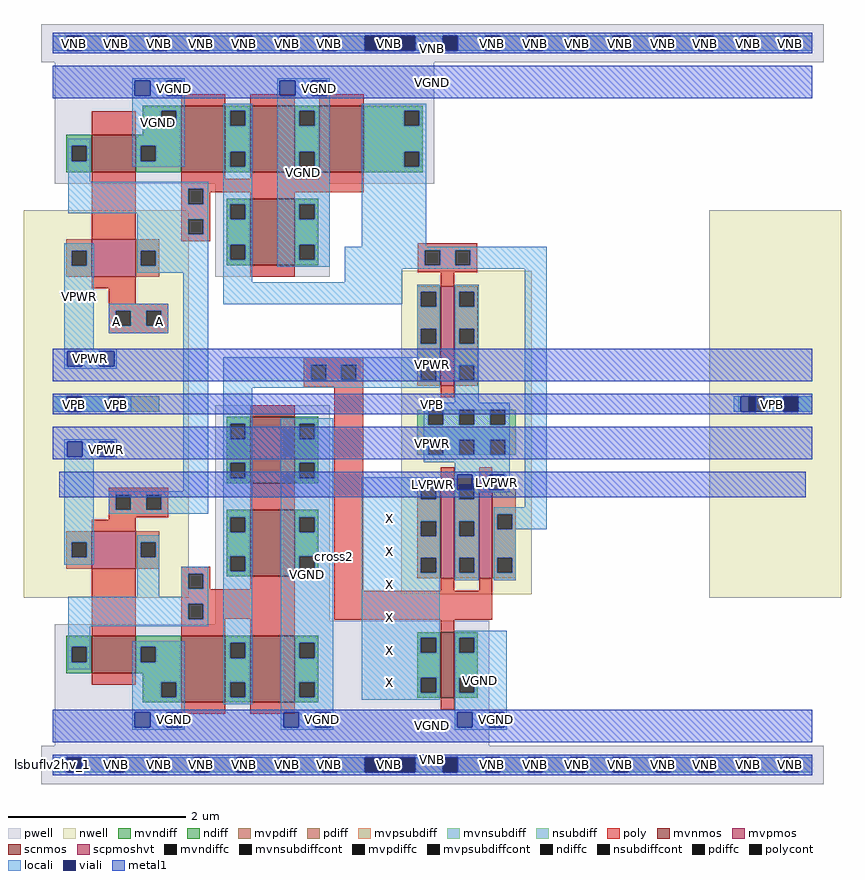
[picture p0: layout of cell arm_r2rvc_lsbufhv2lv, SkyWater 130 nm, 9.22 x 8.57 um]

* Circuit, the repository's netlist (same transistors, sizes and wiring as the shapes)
* PDK standard-cell definition: arm_r2rvc_lsbufhv2lv
* Copyright 2020 The SkyWater PDK Authors; Apache-2.0
* https://www.apache.org/licenses/LICENSE-2.0
.subckt arm_r2rvc_lsbufhv2lv A LVPWR VGND VNB VPB VPWR X
X0 a_30_207# a_30_1337# VGND VNB sky130_fd_pr__nfet_g5v0d10v5 w=420000u l=500000u
X1 VPWR a_30_1337# a_30_207# VPB sky130_fd_pr__pfet_g5v0d10v5 w=420000u l=500000u
X2 X a_389_141# VGND VNB sky130_fd_pr__nfet_01v8 w=740000u l=150000u
X3 a_389_1337# a_30_1337# VGND VNB sky130_fd_pr__nfet_g5v0d10v5 w=750000u l=500000u
X4 a_389_1337# a_30_1337# VGND VNB sky130_fd_pr__nfet_g5v0d10v5 w=750000u l=500000u
X5 X a_389_141# LVPWR LVPWR sky130_fd_pr__pfet_01v8_hvt w=1.12e+06u l=150000u
X6 a_389_141# a_389_1337# LVPWR LVPWR sky130_fd_pr__pfet_01v8_hvt w=1.12e+06u l=150000u
X7 VGND a_30_207# a_389_141# VNB sky130_fd_pr__nfet_g5v0d10v5 w=750000u l=500000u
X8 a_389_141# a_30_207# VGND VNB sky130_fd_pr__nfet_g5v0d10v5 w=750000u l=500000u
X9 a_389_141# a_30_207# VGND VNB sky130_fd_pr__nfet_g5v0d10v5 w=750000u l=500000u
X10 VPWR A a_30_1337# VPB sky130_fd_pr__pfet_g5v0d10v5 w=420000u l=500000u
X11 a_30_1337# A VGND VNB sky130_fd_pr__nfet_g5v0d10v5 w=420000u l=500000u
X12 LVPWR a_389_141# a_389_1337# LVPWR sky130_fd_pr__pfet_01v8_hvt w=1.12e+06u l=150000u
X13 a_389_141# a_30_207# VGND VNB sky130_fd_pr__nfet_g5v0d10v5 w=750000u l=500000u
X14 VGND a_30_1337# a_389_1337# VNB sky130_fd_pr__nfet_g5v0d10v5 w=750000u l=500000u
X15 VGND a_30_1337# a_389_1337# VNB sky130_fd_pr__nfet_g5v0d10v5 w=750000u l=500000u
.ends

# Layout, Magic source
magic
tech sky130A
magscale 1 2
<< nwell >>
rect -66 377 306 1251
rect 786 385 1080 1115
rect 1480 377 1778 1251
<< pwell >>
rect -26 1585 1738 1671
rect 4 1311 860 1585
rect 366 1101 624 1311
rect 366 325 624 811
rect 366 317 984 325
rect 4 43 984 317
rect -26 -43 1738 43
<< scnmos >>
rect 875 151 905 299
<< mvnmos >>
rect 87 1337 187 1421
rect 289 1337 389 1487
rect 445 1337 545 1487
rect 601 1337 701 1487
rect 445 1127 545 1277
rect 445 635 545 785
rect 445 425 545 575
rect 87 207 187 291
rect 289 141 389 291
rect 445 141 545 291
<< mvpmos >>
rect 87 1101 187 1185
rect 87 443 187 527
<< scpmoshvt >>
rect 875 855 905 1079
rect 875 421 905 645
rect 961 421 991 645
<< ndiff >>
rect 822 287 875 299
rect 822 253 830 287
rect 864 253 875 287
rect 822 197 875 253
rect 822 163 830 197
rect 864 163 875 197
rect 822 151 875 163
rect 905 287 958 299
rect 905 253 916 287
rect 950 253 958 287
rect 905 197 958 253
rect 905 163 916 197
rect 950 163 958 197
rect 905 151 958 163
<< pdiff >>
rect 822 1067 875 1079
rect 822 1033 830 1067
rect 864 1033 875 1067
rect 822 984 875 1033
rect 822 950 830 984
rect 864 950 875 984
rect 822 901 875 950
rect 822 867 830 901
rect 864 867 875 901
rect 822 855 875 867
rect 905 1067 958 1079
rect 905 1033 916 1067
rect 950 1033 958 1067
rect 905 984 958 1033
rect 905 950 916 984
rect 950 950 958 984
rect 905 901 958 950
rect 905 867 916 901
rect 950 867 958 901
rect 905 855 958 867
rect 822 633 875 645
rect 822 599 830 633
rect 864 599 875 633
rect 822 550 875 599
rect 822 516 830 550
rect 864 516 875 550
rect 822 467 875 516
rect 822 433 830 467
rect 864 433 875 467
rect 822 421 875 433
rect 905 633 961 645
rect 905 599 916 633
rect 950 599 961 633
rect 905 550 961 599
rect 905 516 916 550
rect 950 516 961 550
rect 905 467 961 516
rect 905 433 916 467
rect 950 433 961 467
rect 905 421 961 433
rect 991 565 1044 645
rect 991 531 1002 565
rect 1036 531 1044 565
rect 991 467 1044 531
rect 991 433 1002 467
rect 1036 433 1044 467
rect 991 421 1044 433
<< mvndiff >>
rect 202 1475 289 1487
rect 202 1441 244 1475
rect 278 1441 289 1475
rect 202 1421 289 1441
rect 30 1396 87 1421
rect 30 1362 42 1396
rect 76 1362 87 1396
rect 30 1337 87 1362
rect 187 1396 289 1421
rect 187 1362 198 1396
rect 232 1362 289 1396
rect 187 1337 289 1362
rect 389 1475 445 1487
rect 389 1441 400 1475
rect 434 1441 445 1475
rect 389 1383 445 1441
rect 389 1349 400 1383
rect 434 1349 445 1383
rect 389 1337 445 1349
rect 545 1475 601 1487
rect 545 1441 556 1475
rect 590 1441 601 1475
rect 545 1383 601 1441
rect 545 1349 556 1383
rect 590 1349 601 1383
rect 545 1337 601 1349
rect 701 1475 834 1487
rect 701 1441 792 1475
rect 826 1441 834 1475
rect 701 1383 834 1441
rect 701 1349 792 1383
rect 826 1349 834 1383
rect 701 1337 834 1349
rect 392 1265 445 1277
rect 392 1231 400 1265
rect 434 1231 445 1265
rect 392 1173 445 1231
rect 392 1139 400 1173
rect 434 1139 445 1173
rect 392 1127 445 1139
rect 545 1265 598 1277
rect 545 1231 556 1265
rect 590 1231 598 1265
rect 545 1173 598 1231
rect 545 1139 556 1173
rect 590 1139 598 1173
rect 545 1127 598 1139
rect 392 769 445 785
rect 392 735 400 769
rect 434 735 445 769
rect 392 681 445 735
rect 392 647 400 681
rect 434 647 445 681
rect 392 635 445 647
rect 545 769 598 785
rect 545 735 556 769
rect 590 735 598 769
rect 545 681 598 735
rect 545 647 556 681
rect 590 647 598 681
rect 545 635 598 647
rect 392 559 445 575
rect 392 525 400 559
rect 434 525 445 559
rect 392 471 445 525
rect 392 437 400 471
rect 434 437 445 471
rect 392 425 445 437
rect 545 559 598 575
rect 545 525 556 559
rect 590 525 598 559
rect 545 471 598 525
rect 545 437 556 471
rect 590 437 598 471
rect 545 425 598 437
rect 30 266 87 291
rect 30 232 42 266
rect 76 232 87 266
rect 30 207 87 232
rect 187 266 289 291
rect 187 232 198 266
rect 232 232 289 266
rect 187 207 289 232
rect 202 187 289 207
rect 202 153 244 187
rect 278 153 289 187
rect 202 141 289 153
rect 389 275 445 291
rect 389 241 400 275
rect 434 241 445 275
rect 389 187 445 241
rect 389 153 400 187
rect 434 153 445 187
rect 389 141 445 153
rect 545 275 598 291
rect 545 241 556 275
rect 590 241 598 275
rect 545 187 598 241
rect 545 153 556 187
rect 590 153 598 187
rect 545 141 598 153
<< mvpdiff >>
rect 30 1160 87 1185
rect 30 1126 42 1160
rect 76 1126 87 1160
rect 30 1101 87 1126
rect 187 1160 240 1185
rect 187 1126 198 1160
rect 232 1126 240 1160
rect 187 1101 240 1126
rect 30 502 87 527
rect 30 468 42 502
rect 76 468 87 502
rect 30 443 87 468
rect 187 502 240 527
rect 187 468 198 502
rect 232 468 240 502
rect 187 443 240 468
<< ndiffc >>
rect 830 253 864 287
rect 830 163 864 197
rect 916 253 950 287
rect 916 163 950 197
<< pdiffc >>
rect 830 1033 864 1067
rect 830 950 864 984
rect 830 867 864 901
rect 916 1033 950 1067
rect 916 950 950 984
rect 916 867 950 901
rect 830 599 864 633
rect 830 516 864 550
rect 830 433 864 467
rect 916 599 950 633
rect 916 516 950 550
rect 916 433 950 467
rect 1002 531 1036 565
rect 1002 433 1036 467
<< mvndiffc >>
rect 244 1441 278 1475
rect 42 1362 76 1396
rect 198 1362 232 1396
rect 400 1441 434 1475
rect 400 1349 434 1383
rect 556 1441 590 1475
rect 556 1349 590 1383
rect 792 1441 826 1475
rect 792 1349 826 1383
rect 400 1231 434 1265
rect 400 1139 434 1173
rect 556 1231 590 1265
rect 556 1139 590 1173
rect 400 735 434 769
rect 400 647 434 681
rect 556 735 590 769
rect 556 647 590 681
rect 400 525 434 559
rect 400 437 434 471
rect 556 525 590 559
rect 556 437 590 471
rect 42 232 76 266
rect 198 232 232 266
rect 244 153 278 187
rect 400 241 434 275
rect 400 153 434 187
rect 556 241 590 275
rect 556 153 590 187
<< mvpdiffc >>
rect 42 1126 76 1160
rect 198 1126 232 1160
rect 42 468 76 502
rect 198 468 232 502
<< nsubdiff >>
rect 822 767 846 801
rect 880 767 916 801
rect 950 767 986 801
rect 1020 767 1044 801
rect 822 733 1044 767
rect 822 699 846 733
rect 880 699 916 733
rect 950 699 986 733
rect 1020 699 1044 733
<< mvpsubdiff >>
rect 0 1611 31 1645
rect 65 1611 127 1645
rect 161 1611 223 1645
rect 257 1611 319 1645
rect 353 1611 415 1645
rect 449 1611 511 1645
rect 545 1611 607 1645
rect 641 1611 703 1645
rect 817 1611 879 1645
rect 913 1611 975 1645
rect 1009 1611 1071 1645
rect 1105 1611 1167 1645
rect 1201 1611 1263 1645
rect 1297 1611 1359 1645
rect 1393 1611 1455 1645
rect 1489 1611 1551 1645
rect 1585 1611 1647 1645
rect 1681 1611 1712 1645
rect 0 -17 31 17
rect 65 -17 127 17
rect 161 -17 223 17
rect 257 -17 319 17
rect 353 -17 415 17
rect 449 -17 511 17
rect 545 -17 607 17
rect 641 -17 703 17
rect 817 -17 879 17
rect 913 -17 975 17
rect 1009 -17 1071 17
rect 1105 -17 1167 17
rect 1201 -17 1263 17
rect 1297 -17 1359 17
rect 1393 -17 1455 17
rect 1489 -17 1551 17
rect 1585 -17 1647 17
rect 1681 -17 1712 17
<< mvnsubdiff >>
rect 0 797 31 831
rect 65 797 127 831
rect 161 797 240 831
rect 1546 797 1570 831
rect 1604 797 1647 831
rect 1681 797 1712 831
<< nsubdiffcont >>
rect 846 767 880 801
rect 916 767 950 801
rect 986 767 1020 801
rect 846 699 880 733
rect 916 699 950 733
rect 986 699 1020 733
<< mvpsubdiffcont >>
rect 31 1611 65 1645
rect 127 1611 161 1645
rect 223 1611 257 1645
rect 319 1611 353 1645
rect 415 1611 449 1645
rect 511 1611 545 1645
rect 607 1611 641 1645
rect 703 1611 817 1645
rect 879 1611 913 1645
rect 975 1611 1009 1645
rect 1071 1611 1105 1645
rect 1167 1611 1201 1645
rect 1263 1611 1297 1645
rect 1359 1611 1393 1645
rect 1455 1611 1489 1645
rect 1551 1611 1585 1645
rect 1647 1611 1681 1645
rect 31 -17 65 17
rect 127 -17 161 17
rect 223 -17 257 17
rect 319 -17 353 17
rect 415 -17 449 17
rect 511 -17 545 17
rect 607 -17 641 17
rect 703 -17 817 17
rect 879 -17 913 17
rect 975 -17 1009 17
rect 1071 -17 1105 17
rect 1167 -17 1201 17
rect 1263 -17 1297 17
rect 1359 -17 1393 17
rect 1455 -17 1489 17
rect 1551 -17 1585 17
rect 1647 -17 1681 17
<< mvnsubdiffcont >>
rect 31 797 65 831
rect 127 797 161 831
rect 1570 797 1604 831
rect 1647 797 1681 831
<< poly >>
rect 289 1487 389 1513
rect 445 1487 545 1513
rect 601 1487 701 1513
rect 87 1421 187 1474
rect 87 1185 187 1337
rect 289 1322 389 1337
rect 445 1322 545 1337
rect 601 1322 701 1337
rect 289 1299 701 1322
rect 289 1265 305 1299
rect 339 1292 701 1299
rect 339 1265 355 1292
rect 445 1277 545 1292
rect 289 1231 355 1265
rect 289 1197 305 1231
rect 339 1197 355 1231
rect 289 1181 355 1197
rect 823 1161 957 1177
rect 823 1127 839 1161
rect 873 1127 907 1161
rect 941 1127 957 1161
rect 445 1101 545 1127
rect 823 1111 957 1127
rect 87 1075 187 1101
rect 875 1079 905 1111
rect 126 1040 187 1075
rect 126 1024 260 1040
rect 126 990 142 1024
rect 176 990 210 1024
rect 244 990 260 1024
rect 126 974 260 990
rect 566 903 700 919
rect 566 869 582 903
rect 616 869 650 903
rect 684 869 700 903
rect 566 853 700 869
rect 445 785 545 811
rect 126 609 260 625
rect 126 575 142 609
rect 176 575 210 609
rect 244 575 260 609
rect 445 575 545 635
rect 126 559 260 575
rect 126 553 187 559
rect 87 527 187 553
rect 87 291 187 443
rect 289 431 355 447
rect 289 397 305 431
rect 339 397 355 431
rect 289 396 355 397
rect 445 396 545 425
rect 289 363 545 396
rect 289 329 305 363
rect 339 330 545 363
rect 339 329 389 330
rect 289 291 389 329
rect 445 291 545 330
rect 634 393 700 853
rect 875 829 905 855
rect 875 645 905 671
rect 961 645 991 671
rect 875 393 905 421
rect 961 393 991 421
rect 634 327 991 393
rect 875 299 905 327
rect 87 181 187 207
rect 289 115 389 141
rect 445 115 545 141
rect 875 125 905 151
<< polycont >>
rect 305 1265 339 1299
rect 305 1197 339 1231
rect 839 1127 873 1161
rect 907 1127 941 1161
rect 142 990 176 1024
rect 210 990 244 1024
rect 582 869 616 903
rect 650 869 684 903
rect 142 575 176 609
rect 210 575 244 609
rect 305 397 339 431
rect 305 329 339 363
<< locali >>
rect 0 1611 31 1645
rect 65 1611 127 1645
rect 161 1611 223 1645
rect 257 1611 319 1645
rect 353 1611 415 1645
rect 449 1611 511 1645
rect 545 1611 607 1645
rect 641 1611 703 1645
rect 817 1611 879 1645
rect 913 1611 975 1645
rect 1009 1611 1071 1645
rect 1105 1611 1167 1645
rect 1201 1611 1263 1645
rect 1297 1611 1359 1645
rect 1393 1611 1455 1645
rect 1489 1611 1551 1645
rect 1585 1611 1647 1645
rect 1681 1611 1712 1645
rect 179 1543 297 1549
rect 179 1509 185 1543
rect 219 1509 257 1543
rect 291 1509 297 1543
rect 179 1475 297 1509
rect 506 1543 624 1549
rect 506 1509 512 1543
rect 546 1509 584 1543
rect 618 1509 624 1543
rect 179 1441 244 1475
rect 278 1441 297 1475
rect 34 1396 84 1412
rect 34 1362 42 1396
rect 76 1362 84 1396
rect 34 1315 84 1362
rect 179 1396 297 1441
rect 179 1362 198 1396
rect 232 1362 297 1396
rect 179 1349 297 1362
rect 384 1475 450 1491
rect 384 1441 400 1475
rect 434 1441 450 1475
rect 384 1383 450 1441
rect 384 1349 400 1383
rect 434 1349 450 1383
rect 34 1299 350 1315
rect 34 1265 305 1299
rect 339 1265 350 1299
rect 34 1244 350 1265
rect 190 1231 350 1244
rect 190 1197 305 1231
rect 339 1197 350 1231
rect 26 1160 92 1176
rect 26 1126 42 1160
rect 76 1126 92 1160
rect 26 939 92 1126
rect 190 1160 350 1197
rect 190 1126 198 1160
rect 232 1126 350 1160
rect 190 1110 350 1126
rect 126 1024 260 1040
rect 126 990 142 1024
rect 176 990 210 1024
rect 244 990 260 1024
rect 126 974 260 990
rect 26 933 144 939
rect 26 899 32 933
rect 66 899 104 933
rect 138 899 144 933
rect 26 893 144 899
rect 0 797 31 831
rect 65 797 127 831
rect 161 797 177 831
rect 26 729 144 735
rect 26 695 32 729
rect 66 695 104 729
rect 138 695 144 729
rect 26 689 144 695
rect 26 502 92 689
rect 294 617 350 1110
rect 384 1265 450 1349
rect 384 1231 400 1265
rect 434 1231 450 1265
rect 384 1173 450 1231
rect 384 1139 400 1173
rect 434 1139 450 1173
rect 384 1089 450 1139
rect 506 1475 624 1509
rect 506 1441 556 1475
rect 590 1441 624 1475
rect 506 1383 624 1441
rect 506 1349 556 1383
rect 590 1349 624 1383
rect 506 1265 624 1349
rect 506 1231 556 1265
rect 590 1231 624 1265
rect 506 1173 624 1231
rect 506 1139 556 1173
rect 590 1139 624 1173
rect 696 1475 842 1491
rect 696 1441 792 1475
rect 826 1441 842 1475
rect 696 1383 842 1441
rect 696 1349 792 1383
rect 826 1349 842 1383
rect 696 1169 842 1349
rect 506 1123 624 1139
rect 658 1161 1114 1169
rect 658 1127 839 1161
rect 873 1127 907 1161
rect 941 1127 1114 1161
rect 658 1119 1114 1127
rect 658 1089 788 1119
rect 384 1039 788 1089
rect 822 1067 872 1083
rect 822 1033 830 1067
rect 864 1033 872 1067
rect 822 984 872 1033
rect 822 950 830 984
rect 864 950 872 984
rect 822 919 872 950
rect 126 609 350 617
rect 126 575 142 609
rect 176 575 210 609
rect 244 575 350 609
rect 126 567 350 575
rect 384 903 872 919
rect 384 869 582 903
rect 616 869 650 903
rect 684 901 872 903
rect 684 869 830 901
rect 384 867 830 869
rect 864 867 872 901
rect 384 851 872 867
rect 906 1067 960 1083
rect 906 1033 916 1067
rect 950 1033 960 1067
rect 906 984 960 1033
rect 906 950 916 984
rect 950 950 960 984
rect 906 901 960 950
rect 906 867 916 901
rect 950 867 960 901
rect 384 769 450 851
rect 906 817 960 867
rect 836 801 1030 817
rect 384 735 400 769
rect 434 735 450 769
rect 384 681 450 735
rect 384 647 400 681
rect 434 647 450 681
rect 384 559 450 647
rect 384 525 400 559
rect 434 525 450 559
rect 26 468 42 502
rect 76 468 92 502
rect 26 452 92 468
rect 190 502 240 518
rect 190 468 198 502
rect 232 468 240 502
rect 190 379 240 468
rect 384 471 450 525
rect 289 431 350 447
rect 289 397 305 431
rect 339 397 350 431
rect 289 379 350 397
rect 34 363 350 379
rect 34 329 305 363
rect 339 329 350 363
rect 34 313 350 329
rect 384 437 400 471
rect 434 437 450 471
rect 34 266 84 313
rect 34 232 42 266
rect 76 232 84 266
rect 34 216 84 232
rect 179 266 297 279
rect 179 232 198 266
rect 232 232 297 266
rect 179 187 297 232
rect 179 153 244 187
rect 278 153 297 187
rect 179 119 297 153
rect 384 275 450 437
rect 384 241 400 275
rect 434 241 450 275
rect 384 187 450 241
rect 384 153 400 187
rect 434 153 450 187
rect 384 137 450 153
rect 514 769 632 782
rect 514 735 556 769
rect 590 735 632 769
rect 514 681 632 735
rect 836 767 846 801
rect 880 767 916 801
rect 950 767 986 801
rect 1020 767 1030 801
rect 836 733 1030 767
rect 836 699 846 733
rect 880 699 916 733
rect 950 699 986 733
rect 1020 699 1030 733
rect 836 683 1030 699
rect 514 647 556 681
rect 590 647 632 681
rect 906 655 1030 683
rect 514 559 632 647
rect 514 525 556 559
rect 590 525 632 559
rect 514 471 632 525
rect 514 437 556 471
rect 590 437 632 471
rect 514 275 632 437
rect 514 241 556 275
rect 590 241 632 275
rect 514 187 632 241
rect 514 153 556 187
rect 590 153 632 187
rect 179 85 185 119
rect 219 85 257 119
rect 291 85 297 119
rect 179 79 297 85
rect 514 119 632 153
rect 697 633 872 649
rect 697 599 830 633
rect 864 599 872 633
rect 697 550 872 599
rect 697 516 830 550
rect 864 516 872 550
rect 697 467 872 516
rect 697 433 830 467
rect 864 433 872 467
rect 697 287 872 433
rect 906 621 912 655
rect 946 633 984 655
rect 950 621 984 633
rect 1018 621 1030 655
rect 906 599 916 621
rect 950 615 1030 621
rect 950 599 960 615
rect 906 550 960 599
rect 1064 581 1114 1119
rect 1535 797 1551 831
rect 1604 797 1647 831
rect 1681 797 1712 831
rect 906 516 916 550
rect 950 516 960 550
rect 906 467 960 516
rect 906 433 916 467
rect 950 433 960 467
rect 906 417 960 433
rect 994 565 1114 581
rect 994 531 1002 565
rect 1036 531 1114 565
rect 994 467 1044 531
rect 994 433 1002 467
rect 1036 433 1044 467
rect 994 417 1044 433
rect 697 253 830 287
rect 864 253 872 287
rect 697 197 872 253
rect 697 163 830 197
rect 864 163 872 197
rect 697 147 872 163
rect 906 287 1024 303
rect 906 253 916 287
rect 950 253 1024 287
rect 906 197 1024 253
rect 906 163 916 197
rect 950 163 1024 197
rect 514 85 520 119
rect 554 85 592 119
rect 626 85 632 119
rect 514 79 632 85
rect 906 119 1024 163
rect 906 85 912 119
rect 946 85 984 119
rect 1018 85 1024 119
rect 906 79 1024 85
rect 0 -17 31 17
rect 65 -17 127 17
rect 161 -17 223 17
rect 257 -17 319 17
rect 353 -17 415 17
rect 449 -17 511 17
rect 545 -17 607 17
rect 641 -17 703 17
rect 817 -17 879 17
rect 913 -17 975 17
rect 1009 -17 1071 17
rect 1105 -17 1167 17
rect 1201 -17 1263 17
rect 1297 -17 1359 17
rect 1393 -17 1455 17
rect 1489 -17 1551 17
rect 1585 -17 1647 17
rect 1681 -17 1712 17
<< viali >>
rect 31 1611 65 1645
rect 127 1611 161 1645
rect 223 1611 257 1645
rect 319 1611 353 1645
rect 415 1611 449 1645
rect 511 1611 545 1645
rect 607 1611 641 1645
rect 703 1611 817 1645
rect 879 1611 913 1645
rect 975 1611 1009 1645
rect 1071 1611 1105 1645
rect 1167 1611 1201 1645
rect 1263 1611 1297 1645
rect 1359 1611 1393 1645
rect 1455 1611 1489 1645
rect 1551 1611 1585 1645
rect 1647 1611 1681 1645
rect 185 1509 219 1543
rect 257 1509 291 1543
rect 512 1509 546 1543
rect 584 1509 618 1543
rect 32 899 66 933
rect 104 899 138 933
rect 31 797 65 831
rect 127 797 161 831
rect 32 695 66 729
rect 104 695 138 729
rect 185 85 219 119
rect 257 85 291 119
rect 912 633 946 655
rect 912 621 916 633
rect 916 621 946 633
rect 984 621 1018 655
rect 1551 797 1570 831
rect 1570 797 1585 831
rect 1647 797 1681 831
rect 520 85 554 119
rect 592 85 626 119
rect 912 85 946 119
rect 984 85 1018 119
rect 31 -17 65 17
rect 127 -17 161 17
rect 223 -17 257 17
rect 319 -17 353 17
rect 415 -17 449 17
rect 511 -17 545 17
rect 607 -17 641 17
rect 703 -17 817 17
rect 879 -17 913 17
rect 975 -17 1009 17
rect 1071 -17 1105 17
rect 1167 -17 1201 17
rect 1263 -17 1297 17
rect 1359 -17 1393 17
rect 1455 -17 1489 17
rect 1551 -17 1585 17
rect 1647 -17 1681 17
<< metal1 >>
rect 0 1645 1712 1651
rect 0 1611 31 1645
rect 65 1611 127 1645
rect 161 1611 223 1645
rect 257 1611 319 1645
rect 353 1611 415 1645
rect 449 1611 511 1645
rect 545 1611 607 1645
rect 641 1611 703 1645
rect 817 1611 879 1645
rect 913 1611 975 1645
rect 1009 1611 1071 1645
rect 1105 1611 1167 1645
rect 1201 1611 1263 1645
rect 1297 1611 1359 1645
rect 1393 1611 1455 1645
rect 1489 1611 1551 1645
rect 1585 1611 1647 1645
rect 1681 1611 1712 1645
rect 0 1605 1712 1611
rect 0 1543 1712 1577
rect 0 1509 185 1543
rect 219 1509 257 1543
rect 291 1509 512 1543
rect 546 1509 584 1543
rect 618 1509 1712 1543
rect 0 1503 1712 1509
rect 0 933 1712 939
rect 0 899 32 933
rect 66 899 104 933
rect 138 899 1712 933
rect 0 865 1712 899
rect 0 831 1712 837
rect 0 797 31 831
rect 65 797 127 831
rect 161 797 1551 831
rect 1585 797 1647 831
rect 1681 797 1712 831
rect 0 791 1712 797
rect 0 729 1712 763
rect 0 695 32 729
rect 66 695 104 729
rect 138 695 1712 729
rect 0 689 1712 695
rect 14 655 1698 661
rect 14 621 912 655
rect 946 621 984 655
rect 1018 621 1698 655
rect 14 604 1698 621
rect 0 119 1712 125
rect 0 85 185 119
rect 219 85 257 119
rect 291 85 520 119
rect 554 85 592 119
rect 626 85 912 119
rect 946 85 984 119
rect 1018 85 1712 119
rect 0 51 1712 85
rect 0 17 1712 23
rect 0 -17 31 17
rect 65 -17 127 17
rect 161 -17 223 17
rect 257 -17 319 17
rect 353 -17 415 17
rect 449 -17 511 17
rect 545 -17 607 17
rect 641 -17 703 17
rect 817 -17 879 17
rect 913 -17 975 17
rect 1009 -17 1071 17
rect 1105 -17 1167 17
rect 1201 -17 1263 17
rect 1297 -17 1359 17
rect 1393 -17 1455 17
rect 1489 -17 1551 17
rect 1585 -17 1647 17
rect 1681 -17 1712 17
rect 0 -23 1712 -17
<< labels >>
flabel locali s 703 316 817 350 0 FreeSans 340 0 0 0 X
port 7 nsew signal output
flabel locali s 703 168 817 202 0 FreeSans 340 0 0 0 X
port 7 nsew signal output
flabel locali s 703 242 817 276 0 FreeSans 340 0 0 0 X
port 7 nsew signal output
flabel locali s 703 538 817 572 0 FreeSans 340 0 0 0 X
port 7 nsew signal output
flabel locali s 703 464 817 498 0 FreeSans 340 0 0 0 X
port 7 nsew signal output
flabel locali s 703 390 817 424 0 FreeSans 340 0 0 0 X
port 7 nsew signal output
flabel locali s 127 982 161 1016 0 FreeSans 340 0 0 0 A
port 1 nsew signal input
flabel locali s 223 982 257 1016 0 FreeSans 340 0 0 0 A
port 1 nsew signal input
rlabel comment s 0 0 0 0 4 lsbuflv2hv_1
flabel comment s 636 470 636 470 0 FreeSans 200 90 0 0 cross2
flabel metal1 s 0 689 1712 763 0 FreeSans 200 0 0 0 VPWR
port 6 nsew power bidirectional
flabel metal1 s 0 865 1712 939 0 FreeSans 200 0 0 0 VPWR
port 6 nsew power bidirectional
flabel metal1 s 0 1503 1712 1577 0 FreeSans 340 0 0 0 VGND
port 3 nsew ground bidirectional
flabel metal1 s 0 51 1712 125 0 FreeSans 340 0 0 0 VGND
port 3 nsew ground bidirectional
flabel metal1 s 0 0 1712 23 0 FreeSans 340 0 0 0 VNB
port 4 nsew ground bidirectional
flabel metal1 s 14 604 1698 661 0 FreeSans 340 0 0 0 LVPWR
port 2 nsew power bidirectional
flabel metal1 s 0 791 1712 837 0 FreeSans 340 0 0 0 VPB
port 5 nsew power bidirectional
flabel metal1 s 0 1605 1712 1628 0 FreeSans 340 0 0 0 VNB
port 4 nsew ground bidirectional
rlabel viali s 984 621 1018 655 1 LVPWR
port 2 nsew power bidirectional
rlabel viali s 912 621 946 655 1 LVPWR
port 2 nsew power bidirectional
rlabel metal1 s 14 604 1698 661 1 LVPWR
port 2 nsew power bidirectional
rlabel locali s 179 1349 297 1549 1 VGND
port 3 nsew ground bidirectional
rlabel locali s 506 1123 624 1549 1 VGND
port 3 nsew ground bidirectional
rlabel locali s 514 79 632 782 1 VGND
port 3 nsew ground bidirectional
rlabel locali s 906 79 1024 303 1 VGND
port 3 nsew ground bidirectional
rlabel viali s 984 85 1018 119 1 VGND
port 3 nsew ground bidirectional
rlabel viali s 912 85 946 119 1 VGND
port 3 nsew ground bidirectional
rlabel viali s 592 85 626 119 1 VGND
port 3 nsew ground bidirectional
rlabel viali s 584 1509 618 1543 1 VGND
port 3 nsew ground bidirectional
rlabel viali s 520 85 554 119 1 VGND
port 3 nsew ground bidirectional
rlabel viali s 512 1509 546 1543 1 VGND
port 3 nsew ground bidirectional
rlabel viali s 257 1509 291 1543 1 VGND
port 3 nsew ground bidirectional
rlabel viali s 257 85 291 119 1 VGND
port 3 nsew ground bidirectional
rlabel viali s 185 1509 219 1543 1 VGND
port 3 nsew ground bidirectional
rlabel viali s 185 85 219 119 1 VGND
port 3 nsew ground bidirectional
rlabel metal1 s 0 51 1712 125 1 VGND
port 3 nsew ground bidirectional
rlabel metal1 s 0 1503 1712 1577 1 VGND
port 3 nsew ground bidirectional
rlabel locali s 0 1611 1712 1645 1 VNB
port 4 nsew ground bidirectional
rlabel viali s 1647 1611 1681 1645 1 VNB
port 4 nsew ground bidirectional
rlabel viali s 1647 -17 1681 17 1 VNB
port 4 nsew ground bidirectional
rlabel viali s 1551 1611 1585 1645 1 VNB
port 4 nsew ground bidirectional
rlabel viali s 1551 -17 1585 17 1 VNB
port 4 nsew ground bidirectional
rlabel viali s 1455 1611 1489 1645 1 VNB
port 4 nsew ground bidirectional
rlabel viali s 1455 -17 1489 17 1 VNB
port 4 nsew ground bidirectional
rlabel viali s 1359 1611 1393 1645 1 VNB
port 4 nsew ground bidirectional
rlabel viali s 1359 -17 1393 17 1 VNB
port 4 nsew ground bidirectional
rlabel viali s 1263 1611 1297 1645 1 VNB
port 4 nsew ground bidirectional
rlabel viali s 1263 -17 1297 17 1 VNB
port 4 nsew ground bidirectional
rlabel viali s 1167 1611 1201 1645 1 VNB
port 4 nsew ground bidirectional
rlabel viali s 1167 -17 1201 17 1 VNB
port 4 nsew ground bidirectional
rlabel viali s 1071 1611 1105 1645 1 VNB
port 4 nsew ground bidirectional
rlabel viali s 1071 -17 1105 17 1 VNB
port 4 nsew ground bidirectional
rlabel viali s 975 1611 1009 1645 1 VNB
port 4 nsew ground bidirectional
rlabel viali s 975 -17 1009 17 1 VNB
port 4 nsew ground bidirectional
rlabel viali s 879 1611 913 1645 1 VNB
port 4 nsew ground bidirectional
rlabel viali s 879 -17 913 17 1 VNB
port 4 nsew ground bidirectional
rlabel viali s 703 1611 817 1645 1 VNB
port 4 nsew ground bidirectional
rlabel viali s 703 -17 817 17 1 VNB
port 4 nsew ground bidirectional
rlabel viali s 607 1611 641 1645 1 VNB
port 4 nsew ground bidirectional
rlabel viali s 607 -17 641 17 1 VNB
port 4 nsew ground bidirectional
rlabel viali s 511 1611 545 1645 1 VNB
port 4 nsew ground bidirectional
rlabel viali s 511 -17 545 17 1 VNB
port 4 nsew ground bidirectional
rlabel viali s 415 1611 449 1645 1 VNB
port 4 nsew ground bidirectional
rlabel viali s 415 -17 449 17 1 VNB
port 4 nsew ground bidirectional
rlabel viali s 319 1611 353 1645 1 VNB
port 4 nsew ground bidirectional
rlabel viali s 319 -17 353 17 1 VNB
port 4 nsew ground bidirectional
rlabel viali s 223 1611 257 1645 1 VNB
port 4 nsew ground bidirectional
rlabel viali s 223 -17 257 17 1 VNB
port 4 nsew ground bidirectional
rlabel viali s 127 1611 161 1645 1 VNB
port 4 nsew ground bidirectional
rlabel viali s 127 -17 161 17 1 VNB
port 4 nsew ground bidirectional
rlabel viali s 31 1611 65 1645 1 VNB
port 4 nsew ground bidirectional
rlabel viali s 31 -17 65 17 1 VNB
port 4 nsew ground bidirectional
rlabel metal1 s 0 -23 1712 23 1 VNB
port 4 nsew ground bidirectional
rlabel metal1 s 0 1605 1712 1651 1 VNB
port 4 nsew ground bidirectional
rlabel locali s 1535 797 1712 831 1 VPB
port 5 nsew power bidirectional
rlabel viali s 1647 797 1681 831 1 VPB
port 5 nsew power bidirectional
rlabel viali s 1551 797 1585 831 1 VPB
port 5 nsew power bidirectional
rlabel viali s 127 797 161 831 1 VPB
port 5 nsew power bidirectional
rlabel viali s 31 797 65 831 1 VPB
port 5 nsew power bidirectional
rlabel metal1 s 0 791 1712 837 1 VPB
port 5 nsew power bidirectional
rlabel locali s 26 939 92 1176 1 VPWR
port 6 nsew power bidirectional
rlabel locali s 26 893 144 939 1 VPWR
port 6 nsew power bidirectional
rlabel viali s 104 899 138 933 1 VPWR
port 6 nsew power bidirectional
rlabel viali s 104 695 138 729 1 VPWR
port 6 nsew power bidirectional
rlabel viali s 32 899 66 933 1 VPWR
port 6 nsew power bidirectional
rlabel viali s 32 695 66 729 1 VPWR
port 6 nsew power bidirectional
rlabel metal1 s 0 689 1712 763 1 VPWR
port 6 nsew power bidirectional
rlabel metal1 s 0 865 1712 939 1 VPWR
port 6 nsew power bidirectional
<< properties >>
string FIXED_BBOX 0 0 1712 1628
string LEFclass CORE
string LEFsite unithvdbl
string LEFsymmetry X Y
string MASKHINTS_HVI 22 34 786 1316
<< end >>
